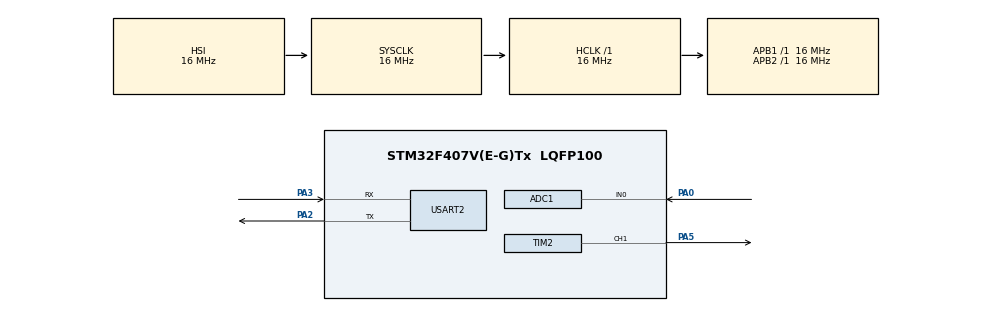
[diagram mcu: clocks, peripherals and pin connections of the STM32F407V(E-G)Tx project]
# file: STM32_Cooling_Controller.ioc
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ADC1.Channel-0\#ChannelRegularConversion=ADC_CHANNEL_0
ADC1.NbrOfConversionFlag=1
ADC1.Rank-0\#ChannelRegularConversion=1
ADC1.SamplingTime-0\#ChannelRegularConversion=ADC_SAMPLETIME_84CYCLES
ADC1.master=1
Mcu.Family=STM32F4
Mcu.Name=STM32F407V(E-G)Tx
Mcu.Package=LQFP100
NVIC.PriorityGroup=NVIC_PRIORITYGROUP_4
PA0-WKUP.Signal=ADCx_IN0
PA13.Mode=Serial_Wire
PA13.Signal=SYS_JTMS-SWDIO
PA14.Mode=Serial_Wire
PA14.Signal=SYS_JTCK-SWCLK
PA2.Mode=Asynchronous
PA2.Signal=USART2_TX
PA3.Mode=Asynchronous
PA3.Signal=USART2_RX
PA5.Signal=S_TIM2_CH1_ETR
ProjectManager.HeapSize=0x200
ProjectManager.StackSize=0x400
ProjectManager.TargetToolchain=CMake
RCC.AHBFreq_Value=16000000
RCC.APB1Freq_Value=16000000
RCC.APB2Freq_Value=16000000
RCC.CortexFreq_Value=16000000
RCC.HSE_VALUE=25000000
RCC.HSI_VALUE=16000000
RCC.LSE_VALUE=32768
RCC.SYSCLKFreq_VALUE=16000000
RCC.VCOOutputFreq_Value=192000000
SH.ADCx_IN0.0=ADC1_IN0,IN0
SH.S_TIM2_CH1_ETR.0=TIM2_CH1,PWM Generation1 CH1
TIM2.Channel-PWM\ Generation1\ CH1=TIM_CHANNEL_1
TIM2.Period=99
TIM2.Prescaler=15
USART2.VirtualMode=VM_ASYNC
board=custom

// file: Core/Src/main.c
/* USER CODE BEGIN Header */
/**
 ******************************************************************************
 * @file           : main.c
 * @brief          : Main program body
 ******************************************************************************
 * @attention
 *
 * Copyright (c) 2026 STMicroelectronics.
 * All rights reserved.
 *
 * This software is licensed under terms that can be found in the LICENSE file
 * in the root directory of this software component.
 * If no LICENSE file comes with this software, it is provided AS-IS.
 *
 ******************************************************************************
 */
/* USER CODE END Header */
#include "main.h"

/* USER CODE BEGIN Includes */
#include <stdio.h>

#include "cooling.h"

/* USER CODE END Includes */

ADC_HandleTypeDef hadc1;

TIM_HandleTypeDef htim2;

UART_HandleTypeDef huart2;

void SystemClock_Config(void);
static void MX_GPIO_Init(void);
static void MX_ADC1_Init(void);
static void MX_TIM2_Init(void);
static void MX_USART2_UART_Init(void);

int main(void) {

  /* MCU Configuration--------------------------------------------------------*/

  /* Reset of all peripherals, Initializes the Flash interface and the Systick.
   */
  HAL_Init();

  /* Configure the system clock */
  SystemClock_Config();

  /* Initialize all configured peripherals */
  MX_GPIO_Init();
  MX_ADC1_Init();
  MX_TIM2_Init();
  MX_USART2_UART_Init();
  /* USER CODE BEGIN 2 */

  uint8_t message[] = "Cooling system ready!\r\n";

  if (HAL_TIM_PWM_Start(&htim2, TIM_CHANNEL_1) != HAL_OK) {
    Error_Handler();
  }

  if (HAL_UART_Transmit(&huart2, message, sizeof(message) - 1, 1000) !=
      HAL_OK) {
    Error_Handler();
  }

  uint32_t adcValue = 0;
  float engineTemperature = 0.0f;
  CoolingState coolingState = NORMAL;
  uint8_t fanSpeed = 0;

  uint32_t currentTimeADC = 0;
  uint32_t currentTimeUART = 0;

  /* USER CODE END 2 */

  /* Infinite loop */
  while (1) {

    /* USER CODE BEGIN 3 */

    uint32_t currentTime = HAL_GetTick();
    if (currentTime - currentTimeADC >= 50U)
     {
      currentTimeADC = currentTime;
      if (HAL_ADC_Start(&hadc1) != HAL_OK) {
        Error_Handler();
        continue;
      }

      if (HAL_ADC_PollForConversion(&hadc1, 100) != HAL_OK) {
        HAL_ADC_Stop(&hadc1);
        Error_Handler();
        continue;
      }
      adcValue = HAL_ADC_GetValue(&hadc1);
      HAL_ADC_Stop(&hadc1);

      coolingUpdate(adcValue);

      engineTemperature = coolingGetTemperature();
      coolingState = coolingGetState();
      fanSpeed = coolingGetFanSpeed();

      __HAL_TIM_SET_COMPARE(&htim2, TIM_CHANNEL_1, fanSpeed);
    }

    if (currentTime - currentTimeUART >= 500U)
    {
      currentTimeUART = currentTime;
      char buffer[100];
      const char *engineState = coolingState_T(coolingState);

      int length = snprintf(buffer, sizeof(buffer),
                            "ADC: %lu | Engine Temperature:  %.1f C | Engine "
                            "State: %s | Fan Speed: %d %% \r\n",
                            (unsigned long)adcValue, engineTemperature,
                            engineState, fanSpeed);

      if (length > 0 && length < (int)sizeof(buffer)) {
        if (HAL_UART_Transmit(&huart2, (uint8_t *)buffer, (uint16_t)length,
                              1000) != HAL_OK) {
          Error_Handler();
        }
      }

    }
  }
  /* USER CODE END 3 */
}

void SystemClock_Config(void) {
  RCC_OscInitTypeDef RCC_OscInitStruct = {0};
  RCC_ClkInitTypeDef RCC_ClkInitStruct = {0};

  /** Configure the main internal regulator output voltage
   */
  __HAL_RCC_PWR_CLK_ENABLE();
  __HAL_PWR_VOLTAGESCALING_CONFIG(PWR_REGULATOR_VOLTAGE_SCALE1);

  /** Initializes the RCC Oscillators according to the specified parameters
   * in the RCC_OscInitTypeDef structure.
   */
  RCC_OscInitStruct.OscillatorType = RCC_OSCILLATORTYPE_HSI;
  RCC_OscInitStruct.HSIState = RCC_HSI_ON;
  RCC_OscInitStruct.HSICalibrationValue = RCC_HSICALIBRATION_DEFAULT;
  RCC_OscInitStruct.PLL.PLLState = RCC_PLL_NONE;
  if (HAL_RCC_OscConfig(&RCC_OscInitStruct) != HAL_OK) {
    Error_Handler();
  }

  /** Initializes the CPU, AHB and APB buses clocks
   */
  RCC_ClkInitStruct.ClockType = RCC_CLOCKTYPE_HCLK | RCC_CLOCKTYPE_SYSCLK |
                                RCC_CLOCKTYPE_PCLK1 | RCC_CLOCKTYPE_PCLK2;
  RCC_ClkInitStruct.SYSCLKSource = RCC_SYSCLKSOURCE_HSI;
  RCC_ClkInitStruct.AHBCLKDivider = RCC_SYSCLK_DIV1;
  RCC_ClkInitStruct.APB1CLKDivider = RCC_HCLK_DIV1;
  RCC_ClkInitStruct.APB2CLKDivider = RCC_HCLK_DIV1;

  if (HAL_RCC_ClockConfig(&RCC_ClkInitStruct, FLASH_LATENCY_0) != HAL_OK) {
    Error_Handler();
  }
}

static void MX_ADC1_Init(void) {

  ADC_ChannelConfTypeDef sConfig = {0};

  /** Configure the global features of the ADC (Clock, Resolution, Data
   * Alignment and number of conversion)
   */
  hadc1.Instance = ADC1;
  hadc1.Init.ClockPrescaler = ADC_CLOCK_SYNC_PCLK_DIV2;
  hadc1.Init.Resolution = ADC_RESOLUTION_12B;
  hadc1.Init.ScanConvMode = DISABLE;
  hadc1.Init.ContinuousConvMode = DISABLE;
  hadc1.Init.DiscontinuousConvMode = DISABLE;
  hadc1.Init.ExternalTrigConvEdge = ADC_EXTERNALTRIGCONVEDGE_NONE;
  hadc1.Init.ExternalTrigConv = ADC_SOFTWARE_START;
  hadc1.Init.DataAlign = ADC_DATAALIGN_RIGHT;
  hadc1.Init.NbrOfConversion = 1;
  hadc1.Init.DMAContinuousRequests = DISABLE;
  hadc1.Init.EOCSelection = ADC_EOC_SINGLE_CONV;
  if (HAL_ADC_Init(&hadc1) != HAL_OK) {
    Error_Handler();
  }

  /** Configure for the selected ADC regular channel its corresponding rank in
   * the sequencer and its sample time.
   */
  sConfig.Channel = ADC_CHANNEL_0;
  sConfig.Rank = 1;
  sConfig.SamplingTime = ADC_SAMPLETIME_84CYCLES;
  if (HAL_ADC_ConfigChannel(&hadc1, &sConfig) != HAL_OK) {
    Error_Handler();
  }
}

static void MX_TIM2_Init(void) {

  TIM_MasterConfigTypeDef sMasterConfig = {0};
  TIM_OC_InitTypeDef sConfigOC = {0};

  htim2.Instance = TIM2;
  htim2.Init.Prescaler = 15;
  htim2.Init.CounterMode = TIM_COUNTERMODE_UP;
  htim2.Init.Period = 99;
  htim2.Init.ClockDivision = TIM_CLOCKDIVISION_DIV1;
  htim2.Init.AutoReloadPreload = TIM_AUTORELOAD_PRELOAD_DISABLE;
  if (HAL_TIM_PWM_Init(&htim2) != HAL_OK) {
    Error_Handler();
  }
  sMasterConfig.MasterOutputTrigger = TIM_TRGO_RESET;
  sMasterConfig.MasterSlaveMode = TIM_MASTERSLAVEMODE_DISABLE;
  if (HAL_TIMEx_MasterConfigSynchronization(&htim2, &sMasterConfig) != HAL_OK) {
    Error_Handler();
  }
  sConfigOC.OCMode = TIM_OCMODE_PWM1;
  sConfigOC.Pulse = 0;
  sConfigOC.OCPolarity = TIM_OCPOLARITY_HIGH;
  sConfigOC.OCFastMode = TIM_OCFAST_DISABLE;
  if (HAL_TIM_PWM_ConfigChannel(&htim2, &sConfigOC, TIM_CHANNEL_1) != HAL_OK) {
    Error_Handler();
  }
  HAL_TIM_MspPostInit(&htim2);
}

static void MX_USART2_UART_Init(void) {

  huart2.Instance = USART2;
  huart2.Init.BaudRate = 115200;
  huart2.Init.WordLength = UART_WORDLENGTH_8B;
  huart2.Init.StopBits = UART_STOPBITS_1;
  huart2.Init.Parity = UART_PARITY_NONE;
  huart2.Init.Mode = UART_MODE_TX_RX;
  huart2.Init.HwFlowCtl = UART_HWCONTROL_NONE;
  huart2.Init.OverSampling = UART_OVERSAMPLING_16;
  if (HAL_UART_Init(&huart2) != HAL_OK) {
    Error_Handler();
  }
}

static void MX_GPIO_Init(void) {

  /* GPIO Ports Clock Enable */
  __HAL_RCC_GPIOA_CLK_ENABLE();

}

void Error_Handler(void) {
  /* USER CODE BEGIN Error_Handler_Debug */
  /* User can add his own implementation to report the HAL error return state
   */
  __disable_irq();
  while (1) {
  }
  /* USER CODE END Error_Handler_Debug */
}
#ifdef USE_FULL_ASSERT
/**
 * @brief  Reports the name of the source file and the source line number
 *         where the assert_param error has occurred.
 * @param  file: pointer to the source file name
 * @param  line: assert_param error line source number
 * @retval None
 */
void assert_failed(uint8_t *file, uint32_t line) {
  /* USER CODE BEGIN 6 */
  /* User can add his own implementation to report the file name and line
     number, ex: printf("Wrong parameters value: file %s on line %d\r\n",
     file, line) */
  /* USER CODE END 6 */
}
#endif /* USE_FULL_ASSERT */
